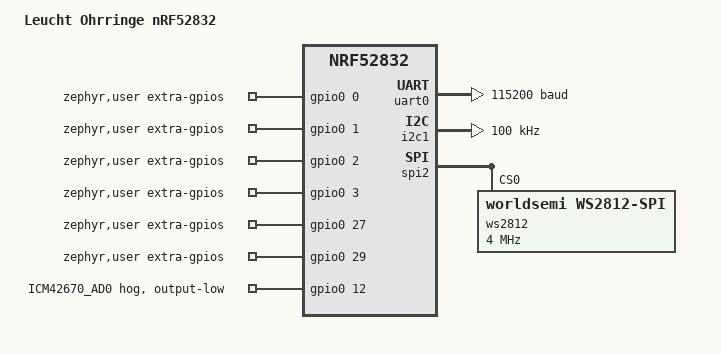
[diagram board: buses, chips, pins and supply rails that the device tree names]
/dts-v1/;

#include <nordic/nrf52832_qfaa.dtsi>
#include <zephyr/dt-bindings/gpio/gpio.h>
#include <zephyr/dt-bindings/i2c/i2c.h>
#include <zephyr/dt-bindings/led/led.h>

#include "leucht-ohrringe-pinctrl.dtsi"

/ {
	model = "Leucht Ohrringe nRF52832";
	compatible = "derdalaba,leucht-ohrringe";

	chosen {
		zephyr,sram = &sram0;
		zephyr,flash = &flash0;
		zephyr,console = &uart0;
	};

	zephyr,user {
		extra-gpios-gpios = <&gpio0 0 0>, <&gpio0 1 0>, <&gpio0 2 0>, <&gpio0 3 0>,
				    <&gpio0 27 0>, <&gpio0 29 0>;
	};
};

/*
 * GPIO controller and board-level GPIO initialization.
 */
&gpio0 {
	status = "okay";

	/*
	 * ICM-42670-L AD0:
	 *
	 * P0.12 is driven low during GPIO initialization.
	 * AD0 low selects I2C address 0x68.
	 */
	imu_ad0 {
		gpio-hog;
		gpios = <12 GPIO_ACTIVE_HIGH>;
		output-low;
		line-name = "ICM42670_AD0";
	};
};

&gpiote {
	status = "okay";
};

/*
 * UART0 connected to the CH340N USB-to-UART bridge.
 *
 * UART is available to the application, but it is not the
 * Zephyr console. Console/printk uses RTT.
 */
&uart0 {
	compatible = "nordic,nrf-uarte";
	status = "okay";

	current-speed = <115200>;

	pinctrl-0 = <&uart0_default>;
	pinctrl-1 = <&uart0_sleep>;
	pinctrl-names = "default", "sleep";
};

/*
 * ICM-42670-L I2C bus:
 *
 * P0.13 = SDA
 * P0.14 = SCL
 * P0.12 = AD0, held low above
 * P0.11 = INT1
 */
&i2c1 {
	compatible = "nordic,nrf-twim";
	status = "okay";

	clock-frequency = <I2C_BITRATE_STANDARD>;

	pinctrl-0 = <&i2c1_default>;
	pinctrl-1 = <&i2c1_sleep>;
	pinctrl-names = "default", "sleep";
};

&spi2 {
	compatible = "nordic,nrf-spim";
	status = "okay";

	pinctrl-0 = <&ws2812_spi_default>;
	pinctrl-1 = <&ws2812_spi_sleep>;
	pinctrl-names = "default", "sleep";

	ws2812: ws2812@0 {
		compatible = "worldsemi,ws2812-spi";
		reg = <0>;
		spi-max-frequency = <4000000>;
		chain-length = <25>;
		color-mapping = <LED_COLOR_ID_GREEN
				 LED_COLOR_ID_RED
				 LED_COLOR_ID_BLUE>;
		spi-one-frame = <0x70>;
		spi-zero-frame = <0x40>;
	};
};

/*
 * Standalone bring-up firmware.
 *
 * The application is intentionally linked at address 0x00000000.
 * Do not set zephyr,code-partition while MCUboot is disabled.
 */
&flash0 {
	partitions {
		compatible = "fixed-partitions";

		#address-cells = <1>;
		#size-cells = <1>;

		app_partition: partition@0 {
			label = "application";
			reg = <0x00000000 DT_SIZE_K(488)>;
		};

		storage_partition: partition@7a000 {
			label = "storage";
			reg = <0x0007a000 DT_SIZE_K(24)>;
		};
	};
};

&uart0_default {
	group1 {
		psels = <NRF_PSEL(UART_RX, 0, 6)>, <NRF_PSEL(UART_TX, 0, 8)>;
	};
};
